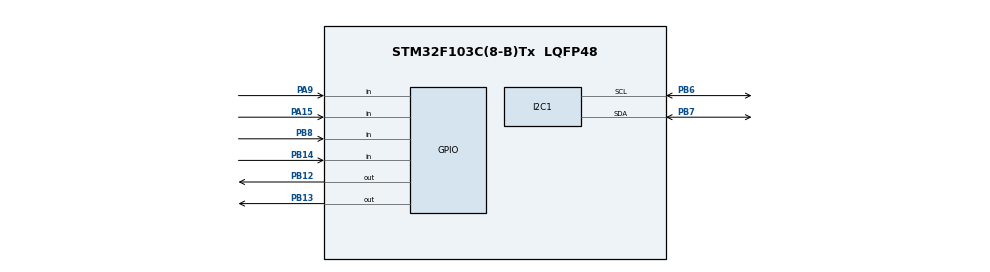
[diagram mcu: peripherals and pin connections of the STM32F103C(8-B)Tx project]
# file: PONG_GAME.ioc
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I2C1.I2C_Mode=I2C_Fast
Mcu.Family=STM32F1
Mcu.Name=STM32F103C(8-B)Tx
Mcu.Package=LQFP48
NVIC.PriorityGroup=NVIC_PRIORITYGROUP_4
PA13.Mode=Serial_Wire
PA13.Signal=SYS_JTMS-SWDIO
PA14.Mode=Serial_Wire
PA14.Signal=SYS_JTCK-SWCLK
PA15.Signal=GPIO_Input
PA9.Signal=GPIO_Input
PB12.Signal=GPIO_Output
PB13.Signal=GPIO_Output
PB14.Signal=GPIO_Input
PB6.Mode=I2C
PB6.Signal=I2C1_SCL
PB7.Mode=I2C
PB7.Signal=I2C1_SDA
PB8.Signal=GPIO_Input
ProjectManager.HeapSize=0x200
ProjectManager.StackSize=0x400
ProjectManager.TargetToolchain=STM32CubeIDE
RCC.APB1Freq_Value=8000000
RCC.APB2Freq_Value=8000000
board=custom

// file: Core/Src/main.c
/* USER CODE BEGIN Header */
/**
  ******************************************************************************
  * @file           : main.c
  * @brief          : Main program body
  ******************************************************************************
  * @attention
  *
  * Copyright (c) 2023 STMicroelectronics.
  * All rights reserved.
  *
  * This software is licensed under terms that can be found in the LICENSE file
  * in the root directory of this software component.
  * If no LICENSE file comes with this software, it is provided AS-IS.
  *
  ******************************************************************************
  */
/* USER CODE END Header */
#include "main.h"

/* USER CODE BEGIN Includes */
#include <stdint.h>
#include "Rtosinclude.h"
#include "Queue.h"
#include "Mutex.h"
#include "Events.h"
#if !defined(__SOFT_FP__) && defined(__ARM_FP)
  #warning "FPU is not initialized, but the project is compiling for an FPU. Please initialize the FPU before use."
#endif

/* USER CODE END Includes */

/* USER CODE BEGIN PTD */

T_TaskTCB Buzzer;
T_TaskTCB Buzzer2;
T_TaskTCB Mov;
T_TaskTCB Display;
T_TaskTCB PreGame;

u32 StackBuzzer[256];
u32 StackBuzzer2[256];
u32 StackMov[256];
u32 StackDisplay[256];
u32 StackPreGame[256];

u16 x = 10;
u16 y = 10;
u16 R0y = 1;
u16 R1y = 10;
u16 L0y = 20;
u16 L1y = 31;
s8 MarcP1 	= 0;
s8 MarcP2	= 0;

T_MutexHandler_Ptr Mutex_Display;

/* USER CODE END PTD */

/* USER CODE BEGIN PD */

#define RCC_APB2ENR					(( ( volatile u32 * ) 0xe40021018 ) )
#define RCC_APB2ENR_IOPC_EN			( 1UL << 4UL )

#define RCC_APB2ENR_IOPB_EN			( 1UL << 3UL )
#define GPIOB_CRL					(*( ( volatile u32 * ) 0x40010C00 ) )
#define GPIOB_CRH					(*( ( volatile u32 * ) 0x40010C04 ) )
#define GPIOB_CRH_MODER12			( 3UL << 16UL )
#define GPIOB_CRH_CNF12				( 1UL << 18UL )
#define GPIOB_BSRR 					(*( ( volatile u32 * ) 0x40010C10 ) )
#define GPIOB_BSRR_BS12				( 1UL << 12UL )
#define GPIOB_BSRR_BR12				( 1UL << 28UL )

#define GPIOB_CRL					(*( ( volatile u32 * ) 0x40010C00 ) )
#define GPIOB_CRH					(*( ( volatile u32 * ) 0x40010C04 ) )
#define GPIOB_CRH_MODER13			( 3UL << 20UL )
#define GPIOB_CRH_CNF13				( 3UL << 22UL )
#define GPIOB_BSRR 					(*( ( volatile u32 * ) 0x40010C10 ) )
#define GPIOB_BSRR_BS13				( 1UL << 13UL )
#define GPIOB_BSRR_BR13				( 1UL << 29UL )

//
#define GPIOC_CRH_MODER14			( 3UL << 24UL )
#define GPIOC_CRH_CNF14				( 3UL << 26UL )
#define GPIOC_BSRR 					(*( ( volatile u32 * ) 0x40011010 ) )
#define GPIOC_BSRR_BS14				( 1UL << 14UL )
#define GPIOC_BSRR_BR14				( 1UL << 30UL )

#define GPIOB_CRH_MODER14			~( 3UL << 24UL )
#define GPIOB_CRH_CNF14				( 2UL << 26UL )
#define GPIOB_IDR					(*( ( volatile u32 * ) 0x40010C08 ) )
#define GPIOB_IDR_14				(1UL << 14UL )

#define GPIOB_CRH_MODER8			~( 3UL )
#define GPIOB_CRH_CNF8				( 2UL << 2UL )
#define GPIOB_IDR					(*( ( volatile u32 * ) 0x40010C08 ) )
#define GPIOB_IDR_8					(1UL << 8UL )
#define GPIOB_ODR					(*( ( volatile u32 * ) 0x40010C08 ) )
#define B13_CLEAR_AND				( 1UL << 13 )
#define B14_CLEAR_AND				( 1UL << 14 )

#define GPIOC_ODR					(*( ( volatile u32 * ) 0x40011008 ) )

#define TEST1						0x0001
#define START						0x1000

#define RightUp						GPIO_PIN_14
#define	RightDown					GPIO_PIN_8
#define LeftDown					GPIO_PIN_9
#define LeftUp						GPIO_PIN_15

/* USER CODE END PD */

I2C_HandleTypeDef hi2c1;

/* USER CODE BEGIN PV */

T_EventHanlder Evento;

/* USER CODE END PV */

void SystemClock_Config(void);
static void MX_GPIO_Init(void);
static void MX_I2C1_Init(void);
/* USER CODE BEGIN PFP */
void FunctionPreGame(void);
void FunctionBuzzer (void);
void FunctionBuzzer2 (void);
void FunctionMov(void);
void FunctionTarea6 (void);
void FunctionDisplay (void);

/* USER CODE END PFP */

int main(void)
{
  /* USER CODE BEGIN 1 */

	RTOS_Init();

	Task_Create(&Buzzer,	1, "Buzzer",	2, (pu32)StackBuzzer,	 256,	 FunctionBuzzer);
	Task_Create(&Buzzer2,	2, "Buzzer2",	2, (pu32)StackBuzzer2,	 256,	 FunctionBuzzer2);
	Task_Create(&Mov,		3, "Mov",		3, (pu32)StackMov,		 256,	 FunctionMov);
	Task_Create(&Display,	4, "Display",	3, (pu32)StackDisplay,	 256,	 FunctionDisplay);
	Task_Create(&PreGame,	5, "PreGame",	1, (pu32)StackPreGame,	 256,	 FunctionPreGame);

	Mutex_Init(Mutex_Display);

  /* USER CODE END 1 */

  /* MCU Configuration--------------------------------------------------------*/

  /* Reset of all peripherals, Initializes the Flash interface and the Systick. */
  HAL_Init();

  /* Configure the system clock */
  SystemClock_Config();

  /* Initialize all configured peripherals */
  MX_GPIO_Init();
  MX_I2C1_Init();
  /* USER CODE BEGIN 2 */
	ssd1306_Init();

	ssd1306_SetColor(White);

	//HAL_GPIO_WritePin(GPIOB, GPIO_PIN_12, GPIO_PIN_RESET);
	HAL_GPIO_WritePin(GPIOB, GPIO_PIN_13, GPIO_PIN_RESET);
	HAL_GPIO_WritePin(GPIOB, GPIO_PIN_12, GPIO_PIN_SET);

	RTOS_Start();
  /* USER CODE END 2 */

  /* Infinite loop */
  while (1)
  {

  }
}

void SystemClock_Config(void)
{
  RCC_OscInitTypeDef RCC_OscInitStruct = {0};
  RCC_ClkInitTypeDef RCC_ClkInitStruct = {0};

  /** Initializes the RCC Oscillators according to the specified parameters
  * in the RCC_OscInitTypeDef structure.
  */
  RCC_OscInitStruct.OscillatorType = RCC_OSCILLATORTYPE_HSI;
  RCC_OscInitStruct.HSIState = RCC_HSI_ON;
  RCC_OscInitStruct.HSICalibrationValue = RCC_HSICALIBRATION_DEFAULT;
  RCC_OscInitStruct.PLL.PLLState = RCC_PLL_NONE;
  if (HAL_RCC_OscConfig(&RCC_OscInitStruct) != HAL_OK)
  {
    Error_Handler();
  }

  /** Initializes the CPU, AHB and APB buses clocks
  */
  RCC_ClkInitStruct.ClockType = RCC_CLOCKTYPE_HCLK|RCC_CLOCKTYPE_SYSCLK
                              |RCC_CLOCKTYPE_PCLK1|RCC_CLOCKTYPE_PCLK2;
  RCC_ClkInitStruct.SYSCLKSource = RCC_SYSCLKSOURCE_HSI;
  RCC_ClkInitStruct.AHBCLKDivider = RCC_SYSCLK_DIV1;
  RCC_ClkInitStruct.APB1CLKDivider = RCC_HCLK_DIV1;
  RCC_ClkInitStruct.APB2CLKDivider = RCC_HCLK_DIV1;

  if (HAL_RCC_ClockConfig(&RCC_ClkInitStruct, FLASH_LATENCY_0) != HAL_OK)
  {
    Error_Handler();
  }
}

static void MX_I2C1_Init(void)
{

  hi2c1.Instance = I2C1;
  hi2c1.Init.ClockSpeed = 400000;
  hi2c1.Init.DutyCycle = I2C_DUTYCYCLE_2;
  hi2c1.Init.OwnAddress1 = 0;
  hi2c1.Init.AddressingMode = I2C_ADDRESSINGMODE_7BIT;
  hi2c1.Init.DualAddressMode = I2C_DUALADDRESS_DISABLE;
  hi2c1.Init.OwnAddress2 = 0;
  hi2c1.Init.GeneralCallMode = I2C_GENERALCALL_DISABLE;
  hi2c1.Init.NoStretchMode = I2C_NOSTRETCH_DISABLE;
  if (HAL_I2C_Init(&hi2c1) != HAL_OK)
  {
    Error_Handler();
  }

}

static void MX_GPIO_Init(void)
{
  GPIO_InitTypeDef GPIO_InitStruct = {0};

  /* GPIO Ports Clock Enable */
  __HAL_RCC_GPIOB_CLK_ENABLE();
  __HAL_RCC_GPIOA_CLK_ENABLE();

  /*Configure GPIO pin Output Level */
  HAL_GPIO_WritePin(GPIOB, GPIO_PIN_12|GPIO_PIN_13, GPIO_PIN_RESET);

  /*Configure GPIO pins : PB12 PB13 */
  GPIO_InitStruct.Pin = GPIO_PIN_12|GPIO_PIN_13;
  GPIO_InitStruct.Mode = GPIO_MODE_OUTPUT_PP;
  GPIO_InitStruct.Pull = GPIO_NOPULL;
  GPIO_InitStruct.Speed = GPIO_SPEED_FREQ_LOW;
  HAL_GPIO_Init(GPIOB, &GPIO_InitStruct);

  /*Configure GPIO pins : PB14 PB8 */
  GPIO_InitStruct.Pin = GPIO_PIN_14|GPIO_PIN_8;
  GPIO_InitStruct.Mode = GPIO_MODE_INPUT;
  GPIO_InitStruct.Pull = GPIO_NOPULL;
  HAL_GPIO_Init(GPIOB, &GPIO_InitStruct);

  /*Configure GPIO pins : PA9 PA15 */
  GPIO_InitStruct.Pin = GPIO_PIN_9|GPIO_PIN_15;
  GPIO_InitStruct.Mode = GPIO_MODE_INPUT;
  GPIO_InitStruct.Pull = GPIO_NOPULL;
  HAL_GPIO_Init(GPIOA, &GPIO_InitStruct);

}

/* USER CODE BEGIN 4 */

void FunctionPreGame(void)
{
	ssd1306_Clear();

	ssd1306_DrawLine(1, 1, SSD1306_WIDTH - 1, 1);
	ssd1306_DrawLine(1, SSD1306_HEIGHT - 1, 1, 1);
	ssd1306_DrawLine(SSD1306_WIDTH - 1, SSD1306_HEIGHT - 1, 1, SSD1306_HEIGHT - 1);
	ssd1306_DrawLine(SSD1306_WIDTH - 1, SSD1306_HEIGHT - 1, SSD1306_WIDTH - 1, 1);

	ssd1306_DrawLine(5,L0y,5,L1y);
	ssd1306_DrawLine(3,L0y,3,L1y);
	ssd1306_DrawLine(4,L0y,4,L1y);

	ssd1306_DrawLine(SSD1306_WIDTH - 5,R0y,SSD1306_WIDTH - 5,R1y);
	ssd1306_DrawLine(SSD1306_WIDTH - 3,R0y,SSD1306_WIDTH - 3,R1y);
	ssd1306_DrawLine(SSD1306_WIDTH - 4,R0y,SSD1306_WIDTH - 4,R1y);

	ssd1306_SetCursor(15, 15);
	ssd1306_WriteChar(*"Pulse el boton",Font_7x10);
	ssd1306_SetCursor(15, 25);
	ssd1306_WriteChar(*"Para iniciar",Font_7x10);
	ssd1306_UpdateScreen();

	while(HAL_GPIO_ReadPin(GPIOB, GPIO_PIN_14) == 0);

	Events_Set(&Evento, START);

}

void FunctionBuzzer(void){
	Events_WaitAll(&Evento, START);
	for(;;)
	{
		Events_WaitAny(&Evento, 0x001);
		Events_Clear(&Evento, 0x001);
		Events_Clear(&Evento, 0x004);
		HAL_GPIO_WritePin(GPIOB, GPIO_PIN_12, GPIO_PIN_RESET);
		HAL_GPIO_WritePin(GPIOB, GPIO_PIN_13, GPIO_PIN_SET);
		Task_Sleep(200);
		HAL_GPIO_WritePin(GPIOB, GPIO_PIN_13, GPIO_PIN_RESET);
		Task_Sleep(200);
		HAL_GPIO_WritePin(GPIOB, GPIO_PIN_13, GPIO_PIN_SET);
		Task_Sleep(200);
		HAL_GPIO_WritePin(GPIOB, GPIO_PIN_13, GPIO_PIN_RESET);
		Task_Sleep(200);
		HAL_GPIO_WritePin(GPIOB, GPIO_PIN_12, GPIO_PIN_SET);
		Events_Set(&Evento, 0x004);
		// LED 3 - 5HZ
	}
}
void FunctionBuzzer2(void){
	Events_WaitAll(&Evento, START);
	for(;;)
	{
		Events_WaitAny(&Evento, 0x002);
		Events_Clear(&Evento, 0x002);
		//Events_Clear(&Evento, 0x004);
		HAL_GPIO_WritePin(GPIOB, GPIO_PIN_12, GPIO_PIN_RESET);
		HAL_GPIO_WritePin(GPIOB, GPIO_PIN_13, GPIO_PIN_SET);
		Task_Sleep(500);
		HAL_GPIO_WritePin(GPIOB, GPIO_PIN_13, GPIO_PIN_RESET);
		HAL_GPIO_WritePin(GPIOB, GPIO_PIN_12, GPIO_PIN_SET);
		//Events_Set(&Evento, 0x004);

		//Task_CheckTimeBlockedTask();
		//Leer entrada digital
		// Encender o apagar led
	}
}

void FunctionMov(void){
	Events_WaitAll(&Evento, START);
	u8 dirID	= 0;
	u8 dirUPD 	= 0;

	dirID 	= 0; //izquierda
	dirUPD 	= 0; //UP

	Events_Set(&Evento, 0x004);

	for(;;)
	{
		if(dirID == 0)x++;
		else x--;
		if(SSD1306_WIDTH - 1 == x)
		{
			dirID = 1;
			x = SSD1306_WIDTH/2;
			y = SSD1306_HEIGHT/2;
			MarcP1++;
			if(MarcP1 == 10)
			{
				MarcP2 = 0;
				MarcP1 =0;
			}
			Events_Set(&Evento,0x001);
			Task_Sleep(600);
		}
		if(x == 1)
		{
			dirID = 0;
			x = SSD1306_WIDTH/2;
			y = SSD1306_HEIGHT/2;
			MarcP2++;
			if(MarcP2 == 10){
				MarcP2 = 0;
				MarcP1 =0;
			}
			Events_Set(&Evento,0x001);
			Task_Sleep(600);
		}
		if(x == 5 && y >= L0y && y <=L1y){
			dirID = 0;
			Events_Set(&Evento,0x002);
		}
		if(x == SSD1306_WIDTH - 5 && y >= R0y && y <=R1y)
		{
			dirID = 1;
			Events_Set(&Evento,0x002);
		}

		// Esperar por mensaje
		//Dormir tarea
		if((HAL_GPIO_ReadPin(GPIOB, GPIO_PIN_14) == 1) && (R1y != SSD1306_HEIGHT - 1) ){R0y++;R1y++;}
		if((HAL_GPIO_ReadPin(GPIOB, GPIO_PIN_8) == 1) && (R0y != 1) ){R0y--;R1y--;}

		if((HAL_GPIO_ReadPin(GPIOA, LeftDown) == 1) && (L1y != SSD1306_HEIGHT - 1)) {L0y++; L1y++;}
		if((HAL_GPIO_ReadPin(GPIOA, LeftUp) == 1) && (L0y != 1) ){L0y--;L1y--;}

		//Luego de recibir mensaje, continuar con codigo

		if(dirUPD == 0)y++;
		else y--;
		if(SSD1306_HEIGHT - 1 == y) dirUPD = 1;
		if(y == 1 ) dirUPD = 0;

		Task_Sleep(1);
		ssd1306_UpdateScreen();

		// Fin mutex de display
		Mutex_Give(Mutex_Display);

		Events_WaitAny(&Evento, 0x004);
		Task_Sleep(1);

		//Mutex de display
		Mutex_Take(Mutex_Display);
	}
}

void FunctionTarea6(void)
{
	Events_WaitAll(&Evento, START);
	while(1)
	{
		if((HAL_GPIO_ReadPin(GPIOB, RightUp) == 1) && (R1y != SSD1306_HEIGHT - 1) ){R0y++;R1y++;}
		if((HAL_GPIO_ReadPin(GPIOB, RightDown) == 1) && (R0y != 1) ){R0y--;R1y--;}

		if((HAL_GPIO_ReadPin(GPIOA, LeftUp) == 1) && (L1y != SSD1306_HEIGHT - 1)) {L0y++; L1y++;}
		if((HAL_GPIO_ReadPin(GPIOA, LeftDown) == 1) && (L0y != 1) ){L0y--;L1y--;}

		// mandar informacion por un mensaje a la tarea 4
		Task_Sleep(1);

	}
}

void FunctionDisplay(void)
{
	Events_WaitAll(&Evento, START);
	while(1)
	{

		//Mutex de display
		Mutex_Take(Mutex_Display);

		ssd1306_Clear();

		ssd1306_DrawLine(1, 1, SSD1306_WIDTH - 1, 1);
		ssd1306_DrawLine(1, SSD1306_HEIGHT - 1, 1, 1);
		ssd1306_DrawLine(SSD1306_WIDTH - 1, SSD1306_HEIGHT - 1, 1, SSD1306_HEIGHT - 1);
		ssd1306_DrawLine(SSD1306_WIDTH - 1, SSD1306_HEIGHT - 1, SSD1306_WIDTH - 1, 1);

		ssd1306_DrawLine(5,L0y,5,L1y);
		ssd1306_DrawLine(3,L0y,3,L1y);
		ssd1306_DrawLine(4,L0y,4,L1y);

		ssd1306_DrawLine(SSD1306_WIDTH - 5,R0y,SSD1306_WIDTH - 5,R1y);
		ssd1306_DrawLine(SSD1306_WIDTH - 3,R0y,SSD1306_WIDTH - 3,R1y);
		ssd1306_DrawLine(SSD1306_WIDTH - 4,R0y,SSD1306_WIDTH - 4,R1y);

		ssd1306_SetCursor(50, 15);
		ssd1306_WriteChar(MarcP1+'0',Font_7x10);
		ssd1306_SetCursor(SSD1306_WIDTH - 50, 15);
		ssd1306_WriteChar(MarcP2+'0',Font_7x10);

		ssd1306_DrawPixel(x, y);

		Mutex_Give(Mutex_Display);

		Task_Sleep(10);

		//Fin  mutex de display

	}
}

/* USER CODE END 4 */

void Error_Handler(void)
{
  __disable_irq();
  while (1)
  {
  }
}
